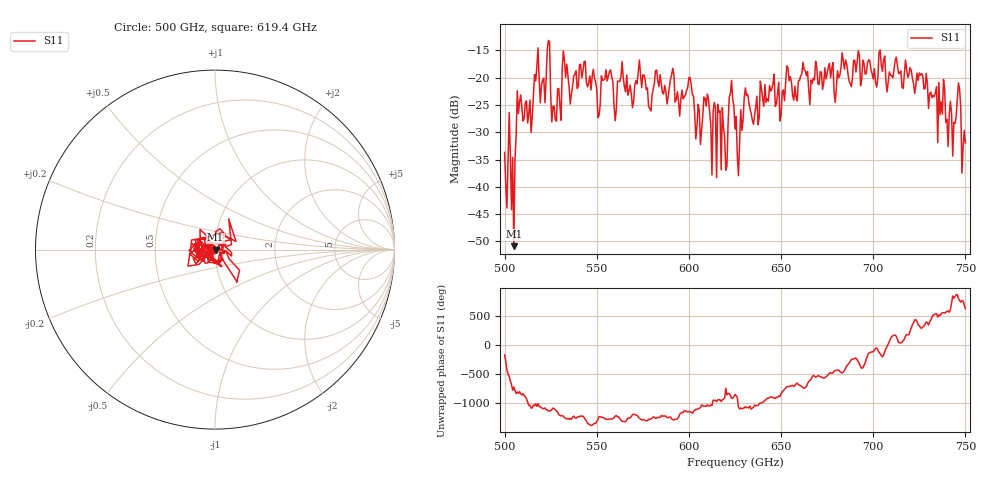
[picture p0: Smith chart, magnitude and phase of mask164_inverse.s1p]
!Created with skrf (http://scikit-rf.org).
# GHz S MA R 50.0
!freq magS11 angS11
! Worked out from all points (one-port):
!   401 points, 500 GHz to 750 GHz, reference 50 ohm
!   lowest |S11| = -50.9 dB at 505 GHz (marker M1), VSWR 1.01, Z = 50.3 - j0.0324 ohm
!   |S11| at or under -10 dB: start of sweep to end of sweep
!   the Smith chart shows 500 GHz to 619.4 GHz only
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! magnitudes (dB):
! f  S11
! 500 GHz  -33.7
! 505 GHz  -50.9
! 508.1 GHz  -24.4
! 513.8 GHz  -24.1
! 516.9 GHz  -20.6
! 520.6 GHz  -20.5
! 523.8 GHz  -13.2
! 526.9 GHz  -25.2
! 531.2 GHz  -18.2
! 542.5 GHz  -18.8
! 550.6 GHz  -27.3
! 562.5 GHz  -20.7
! 590.6 GHz  -19.4
! 593.8 GHz  -22.6
! 600.6 GHz  -20.0
! 605 GHz  -24.9
! 609.4 GHz  -25.2
! 620 GHz  -37.0
! 623.1 GHz  -20.5
! 625 GHz  -29.4
! 627.5 GHz  -31.9
! 631.2 GHz  -23.3
! 656.2 GHz  -23.3
! 687.5 GHz  -21.1
! 718.8 GHz  -20.0
! 741.9 GHz  -24.4
! 746.2 GHz  -21.0
! 750 GHz  -32.0
